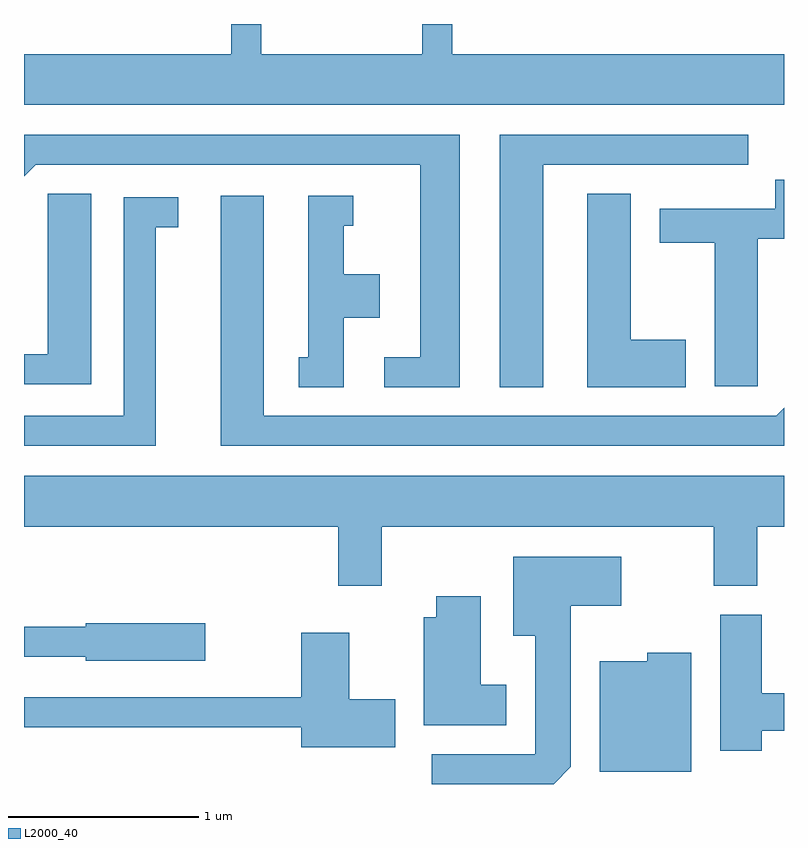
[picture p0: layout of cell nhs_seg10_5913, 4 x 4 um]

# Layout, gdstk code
import gdstk
lib = gdstk.Library(unit=1e-6, precision=1e-09)
def R(c, l, rs):  # rectangles x0, y0, x1, y1
    for r in rs: c.add(gdstk.rectangle(r[:2], r[2:], *l))
def P(c, l, *ps):  # polygons
    for p in ps: c.add(gdstk.Polygon(p, *l))
L2000_40 = (2000, 40)

nhs_seg10_5913 = lib.new_cell('nhs_seg10_5913')
R(nhs_seg10_5913, L2000_40, [(359.611,2156.521,360.093,2156.522)])
P(nhs_seg10_5913, L2000_40, [(363.611,2156.364),(361.864,2156.364),(361.864,2156.522),(361.706,2156.522),(361.706,2156.364),(360.859,2156.364),(360.859,2156.522),(360.701,2156.522),(360.701,2156.364),(359.611,2156.364),(359.611,2156.096),(363.611,2156.096)],
  [(361.904,2155.939),(359.611,2155.939),(359.611,2155.72),(359.672,2155.781),(361.696,2155.781),(361.696,2154.769),(361.508,2154.769),(361.508,2154.611),(361.904,2154.611)],
  [(362.344,2155.781),(363.423,2155.781),(363.423,2155.939),(362.116,2155.939),(362.116,2154.611),(362.344,2154.611)],
  [(363.474,2155.391),(363.611,2155.391),(363.611,2155.703),(363.566,2155.703),(363.566,2155.549),(362.956,2155.549),(362.956,2155.371),(363.246,2155.371),(363.246,2154.616),(363.474,2154.616)],
  [(363.094,2154.859),(362.804,2154.859),(362.804,2155.629),(362.576,2155.629),(362.576,2154.611),(363.094,2154.611)],
  [(359.964,2155.629),(359.736,2155.629),(359.736,2154.784),(359.611,2154.784),(359.611,2154.626),(359.964,2154.626)],
  [(363.611,2154.501),(363.569,2154.459),(360.874,2154.459),(360.874,2155.619),(360.646,2155.619),(360.646,2154.301),(363.611,2154.301)],
  [(361.294,2154.976),(361.484,2154.976),(361.484,2155.204),(361.294,2155.204),(361.294,2155.461),(361.343,2155.461),(361.343,2155.619),(361.106,2155.619),(361.106,2154.769),(361.058,2154.769),(361.058,2154.611),(361.294,2154.611)],
  [(360.304,2155.451),(360.423,2155.451),(360.423,2155.609),(360.136,2155.609),(360.136,2154.459),(359.611,2154.459),(359.611,2154.301),(360.304,2154.301)],
  [(361.494,2153.876),(363.241,2153.876),(363.241,2153.566),(363.469,2153.566),(363.469,2153.876),(363.611,2153.876),(363.611,2154.144),(359.611,2154.144),(359.611,2153.876),(361.266,2153.876),(361.266,2153.566),(361.494,2153.566)],
  [(362.489,2152.612),(362.489,2153.461),(362.754,2153.461),(362.754,2153.719),(362.186,2153.719),(362.186,2153.301),(362.301,2153.301),(362.301,2152.679),(361.756,2152.679),(361.756,2152.522),(362.4,2152.522)],
  [(362.149,2153.044),(362.014,2153.044),(362.014,2153.509),(361.781,2153.509),(361.781,2153.399),(361.716,2153.399),(361.716,2152.831),(362.149,2152.831)],
  [(363.494,2152.801),(363.611,2152.801),(363.611,2152.999),(363.494,2152.999),(363.494,2153.414),(363.276,2153.414),(363.276,2152.696),(363.494,2152.696)],
  [(360.564,2153.369),(359.936,2153.369),(359.936,2153.349),(359.611,2153.349),(359.611,2153.191),(359.936,2153.191),(359.936,2153.171),(360.564,2153.171)],
  [(361.564,2152.969),(361.324,2152.969),(361.324,2153.319),(361.071,2153.319),(361.071,2152.979),(359.611,2152.979),(359.611,2152.821),(361.071,2152.821),(361.071,2152.716),(361.564,2152.716)],
  [(363.124,2153.214),(362.891,2153.214),(362.891,2153.169),(362.641,2153.169),(362.641,2152.586),(363.124,2152.586)])

lib.write_gds('nhs_seg10_5913.gds')
